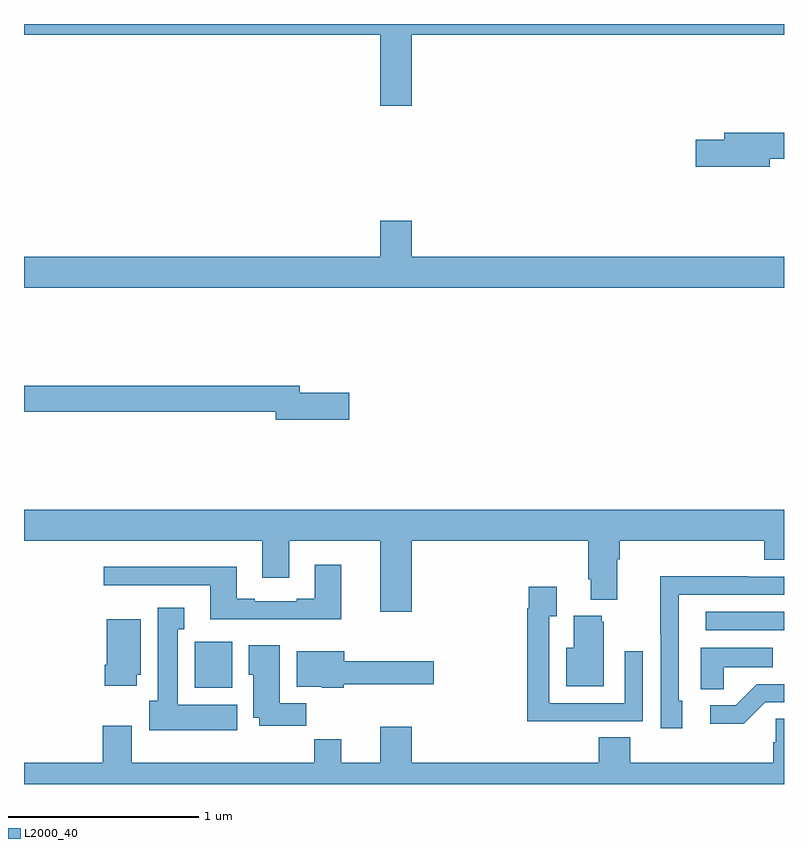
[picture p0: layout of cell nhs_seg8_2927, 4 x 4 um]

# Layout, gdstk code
import gdstk
lib = gdstk.Library(unit=1e-6, precision=1e-09)
def R(c, l, rs):  # rectangles x0, y0, x1, y1
    for r in rs: c.add(gdstk.rectangle(r[:2], r[2:], *l))
def P(c, l, *ps):  # polygons
    for p in ps: c.add(gdstk.Polygon(p, *l))
L2000_40 = (2000, 40)

nhs_seg8_2927 = lib.new_cell('nhs_seg8_2927')
R(nhs_seg8_2927, L2000_40, [(295.898,1102.406,296.095,1102.648), (298.587,1102.71,299,1102.806)])
P(nhs_seg8_2927, L2000_40, [(297.04,1105.844),(299,1105.844),(299,1105.9),(295,1105.9),(295,1105.844),(296.876,1105.844),(296.876,1105.47),(297.04,1105.47)],
  [(298.924,1105.192),(299,1105.192),(299,1105.328),(298.685,1105.328),(298.685,1105.292),(298.536,1105.292),(298.536,1105.15),(298.924,1105.15)],
  [(299,1104.676),(297.04,1104.676),(297.04,1104.865),(296.876,1104.865),(296.876,1104.676),(295,1104.676),(295,1104.512),(299,1104.512)],
  [(296.713,1103.96),(296.452,1103.96),(296.452,1103.996),(295,1103.996),(295,1103.86),(296.324,1103.86),(296.324,1103.818),(296.713,1103.818)],
  [(297.04,1103.18),(297.971,1103.18),(297.971,1102.978),(297.983,1102.978),(297.983,1102.871),(298.123,1102.871),(298.123,1103.084),(298.136,1103.084),(298.136,1103.18),(298.895,1103.18),(298.895,1103.081),(299,1103.081),(299,1103.344),(295,1103.344),(295,1103.18),(296.255,1103.18),(296.255,1102.986),(296.395,1102.986),(296.395,1103.18),(296.876,1103.18),(296.876,1102.806),(297.04,1102.806)],
  [(296.671,1103.053),(296.531,1103.053),(296.531,1102.876),(296.435,1102.876),(296.435,1102.863),(296.215,1102.863),(296.215,1102.876),(296.119,1102.876),(296.119,1103.044),(295.419,1103.044),(295.419,1102.947),(295.979,1102.947),(295.979,1102.766),(296.671,1102.766)],
  [(298.465,1102.338),(298.446,1102.338),(298.446,1102.896),(299,1102.896),(299,1102.992),(298.811,1102.992),(298.811,1102.994),(298.348,1102.994),(298.348,1102.687),(298.35,1102.687),(298.35,1102.194),(298.465,1102.194)],
  [(297.941,1102.23),(298.257,1102.23),(298.257,1102.6),(298.161,1102.6),(298.161,1102.326),(297.765,1102.326),(297.765,1102.783),(297.805,1102.783),(297.805,1102.939),(297.657,1102.939),(297.657,1102.826),(297.649,1102.826),(297.649,1102.229),(297.941,1102.229)],
  [(296.122,1102.318),(295.81,1102.318),(295.81,1102.715),(295.843,1102.715),(295.843,1102.828),(295.703,1102.828),(295.703,1102.338),(295.658,1102.338),(295.658,1102.184),(296.122,1102.184)],
  [(298.051,1102.755),(298.04,1102.755),(298.04,1102.786),(297.893,1102.786),(297.893,1102.618),(297.854,1102.618),(297.854,1102.415),(298.051,1102.415)],
  [(295.594,1102.476),(295.615,1102.476),(295.615,1102.768),(295.436,1102.768),(295.436,1102.528),(295.424,1102.528),(295.424,1102.416),(295.594,1102.416)],
  [(296.486,1102.324),(296.347,1102.324),(296.347,1102.63),(296.183,1102.63),(296.183,1102.476),(296.207,1102.476),(296.207,1102.25),(296.237,1102.25),(296.237,1102.206),(296.486,1102.206)],
  [(298.683,1102.514),(298.94,1102.514),(298.94,1102.618),(298.562,1102.618),(298.562,1102.399),(298.683,1102.399)],
  [(296.682,1102.424),(297.157,1102.424),(297.157,1102.546),(296.686,1102.546),(296.686,1102.6),(296.435,1102.6),(296.435,1102.412),(296.568,1102.412),(296.568,1102.406),(296.682,1102.406)],
  [(298.902,1102.329),(299,1102.329),(299,1102.425),(298.856,1102.425),(298.745,1102.314),(298.611,1102.314),(298.611,1102.217),(298.789,1102.217)],
  [(299,1102.244),(298.956,1102.244),(298.956,1102.121),(298.943,1102.121),(298.943,1102.012),(298.19,1102.012),(298.19,1102.145),(298.025,1102.145),(298.025,1102.012),(297.04,1102.012),(297.04,1102.201),(296.876,1102.201),(296.876,1102.012),(296.671,1102.012),(296.671,1102.136),(296.527,1102.136),(296.527,1102.012),(295.567,1102.012),(295.567,1102.207),(295.415,1102.207),(295.415,1102.012),(295,1102.012),(295,1101.9),(299,1101.9)])

lib.write_gds('nhs_seg8_2927.gds')
